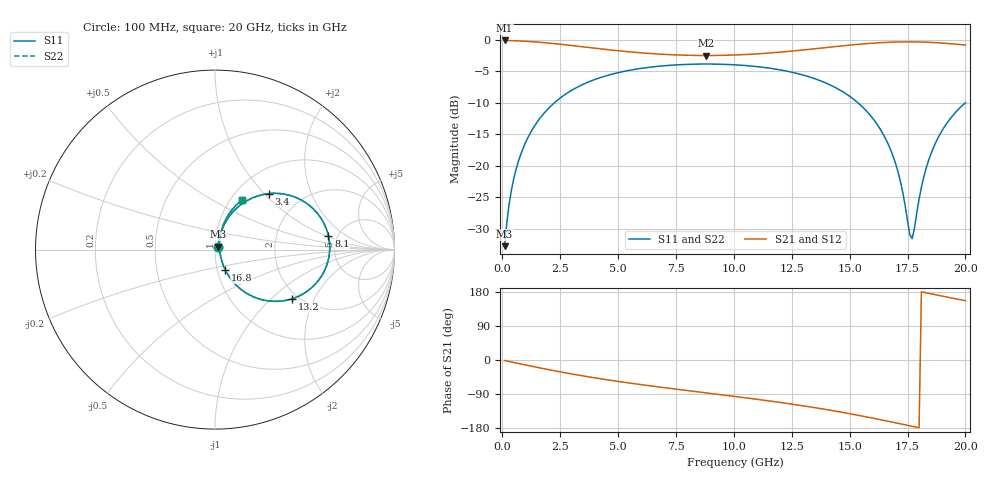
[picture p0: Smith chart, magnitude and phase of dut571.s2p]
! Touchstone file exported from HFSS 2026.1.0
!  File:  C:/ffzhzh/LocalFiles/Ansys_Project_Files/temp_train_TSV_RDL_571_1783117787_53076.aedt
!  Generated:  06:38:58 AM Jul  4, 2026
!  Design:  TSV_RDL
!  Project:  temp_train_TSV_RDL_571_1783117787_53076
! Variables:
!  h_bsmrdl = 5.29um
!  h_ox = 20um
!  h_rdl = 5um
!  h_sub = 71.46um
!  h_tmrdl = 4.21um
!  h_tsv = 71.46um
!  h_via = 3um
!  l_bsmrdl = 161.22um
!  l_sub = 3330.79um
!  l_tmrdl = 590.82um
!  m_sub = 200um
!  pitch = 58.76um
!  r_tsv = 10.31um
!  s_tmrdl = 10um
!  w_bsmrdl = 12.65um
!  w_sub = 500um
!  w_tmrdl = 15.3um
!  x_tsv_center1 = 598.47um
!  x_tsv_center2 = 772.34um
!  x_tsv_center3 = 1378.46um
!  x_tsv_center4 = 1552.33um
!  x_tsv_center5 = 2158.45um
!  x_tsv_center6 = 2332.32um
# GHz S MA R 50.000000
! Terminal data exported
! Port[1] = TM_RDL1_1_T1
! Port[2] = TM_RDL5_1_T1
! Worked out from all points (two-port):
!   200 points, 100 MHz to 20 GHz, reference 50 ohm
!   highest |S21| = -0.15 dB at 100 MHz (marker M1); lowest = -2.5 dB at 8.8 GHz (marker M2)
!   |S21| within 3 dB of the highest: start of sweep to end of sweep
!   lowest |S11| = -32.8 dB at 100 MHz (marker M3), VSWR 1.05, Z = 51.7 + j1.6 ohm
!   |S11| at or under -10 dB: start of sweep to 2.259 GHz; 15.35 GHz to end of sweep
!   |S22| runs from -32.8 to -3.9 dB; largest |S21 - S12| = 2.7e-14
!   S11 on the Smith chart (normalised r, x): 100 MHz: 1.03, +0.03; 3.4 GHz: 1.39, +1.07; 8.1 GHz: 4.20, +1.10; 13.2 GHz: 1.85, -1.37; 16.8 GHz: 1.09, -0.26; 20 GHz: 1.13, +0.69
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0.1  0.023 42.4  0.9833 -1.4  0.9833 -1.4  0.023 42.4
! Gamma 0 0 0 0
! Port Impedance 50 0 50 0
0.3  0.05023 65.7  0.9815 -4.0  0.9815 -4.0  0.05023 65.7
0.5  0.07952 70.1  0.9787 -6.7  0.9787 -6.7  0.07952 70.1
1.1  0.1659 68.8  0.9666 -14.4  0.9666 -14.4  0.1659 68.8
2.1  0.2975 59.3  0.9339 -26.6  0.9339 -26.6  0.2975 59.3
3.4  0.4336 46.0  0.8791 -41.1  0.8791 -41.1  0.4336 46.0
3.5  0.4423 45.0  0.8748 -42.1  0.8748 -42.1  0.4423 45.0
6.8  0.6152 16.7  0.766 -71.5  0.766 -71.5  0.6152 16.7
8.1  0.6365 7.0  0.7493 -81.5  0.7493 -81.5  0.6365 7.0
8.8  0.6394 1.9  0.747 -86.8  0.747 -86.8  0.6394 1.9
10.1  0.6295 -7.5  0.755 -96.6  0.755 -96.6  0.6295 -7.5
13.2  0.5098 -32.5  0.8338 -122.9  0.8338 -122.9  0.5098 -32.5
13.4  0.4962 -34.3  0.8412 -124.8  0.8412 -124.8  0.4962 -34.3
15.4  0.3104 -53.3  0.9171 -146.2  0.9171 -146.2  0.3104 -53.3
16.7  0.1434 -63.2  0.9514 -162.1  0.9514 -162.1  0.1434 -63.2
16.8  0.1295 -63.3  0.953 -163.4  0.953 -163.4  0.1295 -63.3
17.2  0.0742 -59.3  0.9573 -168.5  0.9573 -168.5  0.07422 -59.2
17.6  0.02837 -17.8  0.9585 -173.6  0.9585 -173.6  0.02841 -17.8
17.7  0.02639 11.7  0.9583 -174.9  0.9583 -174.9  0.02644 11.7
18.1  0.06737 66.0  0.9553 179.9  0.9553 179.9  0.06739 65.9
18.5  0.1224 71.5  0.9493 174.8  0.9493 174.8  0.1224 71.5
20  0.3154 61.3  0.9042 156.6  0.9042 156.6  0.3154 61.2
